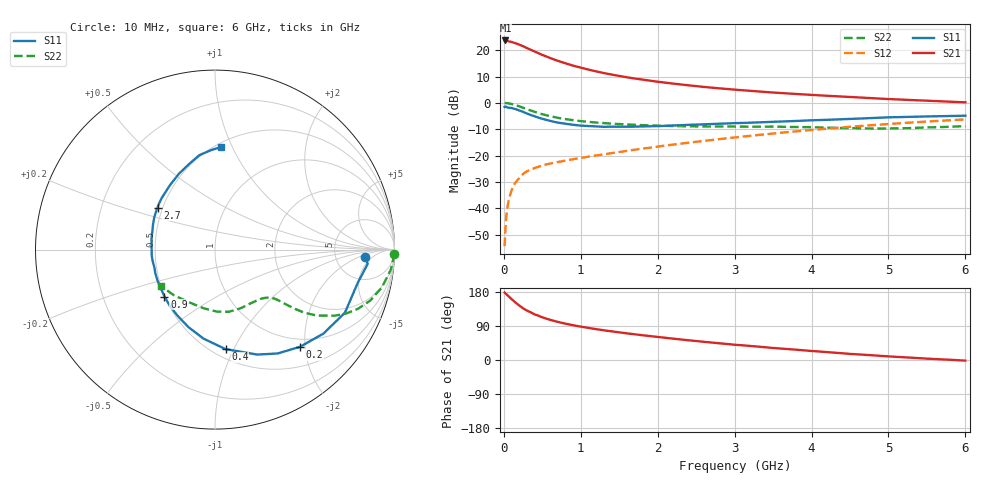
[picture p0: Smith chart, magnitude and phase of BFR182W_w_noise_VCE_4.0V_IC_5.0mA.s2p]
! Infineon Technologies  Discrete & RF Semiconductors
! BFR182W
! VCE =  4.0 V,  IC =  5.0 mA
! Common Emitter S-Parameters:  Jan 2017
# GHz  S  MA  R  50
!  f  S11  S21  S12  S22
! GHz  MAG  ANG  MAG  ANG  MAG  ANG  MAG  ANG
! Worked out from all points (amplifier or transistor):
!   77 points, 10 MHz to 6 GHz, reference 50 ohm
!   highest |S21| = 23.7 dB at 20 MHz (marker M1)
!   |S21| within 3 dB of that: start of sweep to 308.4 MHz
!   unconditionally stable (mu >= 1): 1.352 GHz to 2.878 GHz
!   at 130 MHz: K = 0.17, MSG = 27.1 dB, |S12| = -31.4 dB
!   at 2.2 GHz: K = 1.05, MAG = 10.2 dB, |S12| = -15.8 dB
!   at 6 GHz: K = 0.84, MSG = 3.2 dB, |S12| = -6.3 dB
!   lowest NFmin = 0.88 dB at 450 MHz
!   S11 on the Smith chart (normalised r, x): 10 MHz: 11, -3; 200 MHz: 0.85, -1.90; 400 MHz: 0.58, -0.93; 900 MHz: 0.50, -0.31; 2.7 GHz: 0.47, +0.26; 6 GHz: 0.53, +0.91
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0.01  0.8388 -2.8  15.12 177.9  0.0019 79.9  0.9995 -1.3
0.02  0.8547 -5.3  15.37 176.2  0.004 96.7  0.9956 -2.8
0.05  0.8168 -13.0  14.97 170.2  0.0112 83.5  0.9858 -6.5
0.1  0.8047 -25.9  14.43 160.7  0.0217 77.9  0.9545 -12.6
0.15  0.7644 -37.7  13.66 151.8  0.0306 71.3  0.9111 -18.1
0.2  0.7194 -48.8  12.79 143.8  0.0373 67.0  0.8621 -22.5
0.25  0.6759 -58.9  11.94 136.5  0.0448 62.4  0.8108 -26.1
0.3  0.6303 -68.1  11.02 130.5  0.0501 59.6  0.7601 -29.0
0.4  0.5577 -83.9  9.477 120.4  0.0579 55.4  0.6768 -32.9
0.5  0.4999 -97.4  8.164 112.6  0.0648 53.7  0.6102 -35.2
0.6  0.4563 -109.0  7.15 106.1  0.0703 52.4  0.56 -36.4
0.7  0.4227 -119.8  6.317 100.6  0.0753 53.0  0.5219 -37.2
0.9  0.3841 -137.1  5.108 91.7  0.0852 53.4  0.4702 -38.2
1.1  0.3639 -151.7  4.294 84.7  0.0952 54.8  0.4368 -39.2
1.3  0.3518 -164.2  3.694 78.4  0.1052 56.2  0.414 -40.5
1.6  0.3529 -179.1  3.069 70.3  0.1227 58.1  0.3907 -43.4
2.1  0.3668 161.3  2.426 58.6  0.1547 59.6  0.3668 -50.8
2.7  0.3969 143.8  1.952 46.1  0.1974 59.3  0.3567 -62.1
3.1  0.4168 133.7  1.743 38.8  0.2289 57.9  0.3549 -69.7
4.1  0.4726 113.8  1.394 22.4  0.3154 52.1  0.3421 -90.4
5.1  0.5363 98.1  1.168 8.4  0.4064 43.3  0.3284 -120.0
6  0.5721 86.6  1.025 -1.6  0.4862 34.0  0.3631 -146.2
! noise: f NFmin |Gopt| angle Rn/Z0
0.45  0.88  0.26  32  0.17
0.9  0.98  0.21  59  0.16
1.9  1.55  0.19  162  0.13
2.4  1.83  0.21  176  0.17
